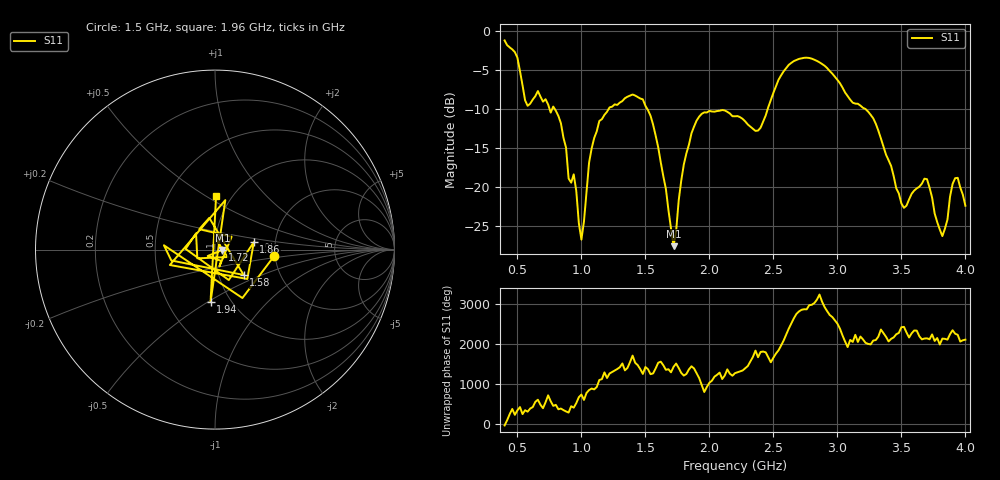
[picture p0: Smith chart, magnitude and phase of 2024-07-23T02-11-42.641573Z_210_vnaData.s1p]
!Created with skrf (http://scikit-rf.org).
# Hz S RI R 50.0
!freq ReS11 ImS11
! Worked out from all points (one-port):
!   181 points, 400 MHz to 4 GHz, reference 50 ohm
!   lowest |S11| = -27.6 dB at 1.72 GHz (marker M1), VSWR 1.09, Z = 54.4 - j0.193 ohm
!   |S11| at or under -10 dB: 790.9 MHz to 1.213 GHz (422.5 MHz wide, 42.2 % of centre); 1.514 GHz to 2.456 GHz (942.1 MHz wide, 47.5 % of centre); 3.216 GHz to end of sweep (the widest 3 of 4)
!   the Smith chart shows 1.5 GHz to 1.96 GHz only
!   S11 on the Smith chart (normalised r, x): 1.5 GHz: 1.97, -0.17; 1.58 GHz: 1.31, -0.39; 1.72 GHz: 1.09, -0.00; 1.86 GHz: 1.55, +0.14; 1.94 GHz: 0.80, -0.52; 1.96 GHz: 0.84, +0.56
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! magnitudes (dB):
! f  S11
! 400 MHz  -1.3
! 500 MHz  -3.4
! 580 MHz  -9.6
! 660 MHz  -7.7
! 860 MHz  -13.7
! 900 MHz  -18.9
! 940 MHz  -18.4
! 1 GHz  -26.7
! 1.1 GHz  -13.7
! 1.3 GHz  -9.2
! 1.5 GHz  -9.6
! 1.58 GHz  -13.4
! 1.72 GHz  -27.6
! 1.76 GHz  -21.7
! 1.86 GHz  -13.1
! 1.94 GHz  -10.6
! 1.96 GHz  -10.5
! 2.2 GHz  -11.0
! 2.38 GHz  -12.8
! 2.66 GHz  -3.9
! 3.1 GHz  -8.8
! 3.28 GHz  -11.2
! 3.5 GHz  -22.1
! 3.56 GHz  -21.6
! 3.7 GHz  -19.0
! 3.82 GHz  -26.3
! 3.92 GHz  -18.9
! 4 GHz  -22.4
